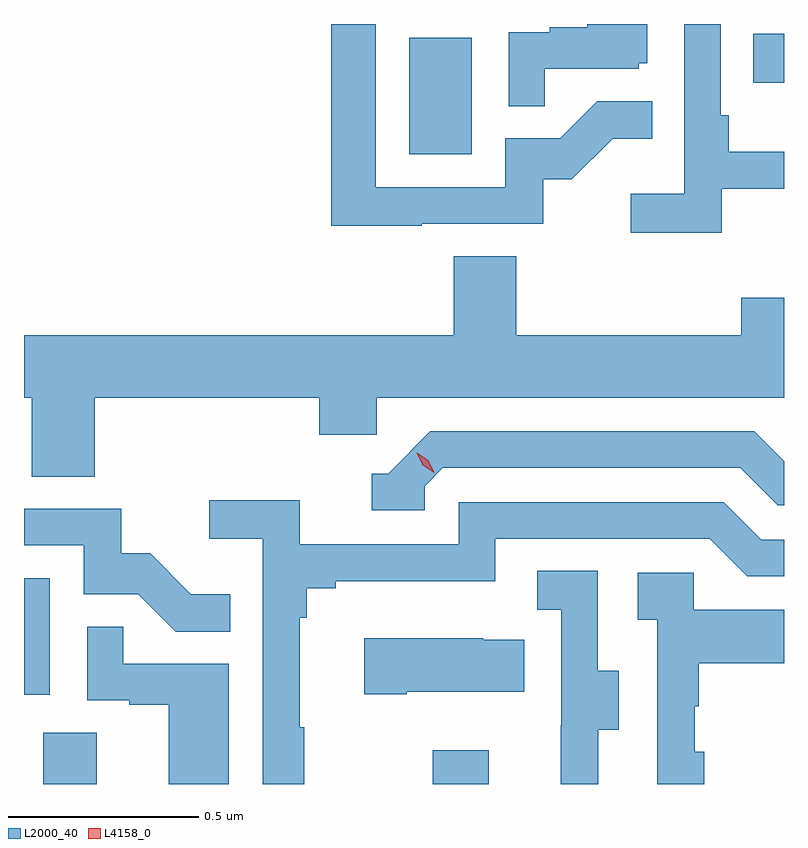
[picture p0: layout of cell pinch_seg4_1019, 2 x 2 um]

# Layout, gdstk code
import gdstk
lib = gdstk.Library(unit=1e-6, precision=1e-09)
def R(c, l, rs):  # rectangles x0, y0, x1, y1
    for r in rs: c.add(gdstk.rectangle(r[:2], r[2:], *l))
def P(c, l, *ps):  # polygons
    for p in ps: c.add(gdstk.Polygon(p, *l))
L2000_40 = (2000, 40)
L4158_0 = (4158, 0)

pinch_seg4_1019 = lib.new_cell('pinch_seg4_1019')
R(pinch_seg4_1019, L2000_40, [(853.445,779.819,853.585,779.954), (854.47,779.819,854.617,779.908), (853.394,780.054,853.462,780.361), (854.408,781.476,854.572,781.783), (855.313,781.664,855.394,781.794)])
P(pinch_seg4_1019, L2000_40, [(854.765,781.701),(855.012,781.701),(855.012,781.716),(855.034,781.716),(855.034,781.819),(854.876,781.819),(854.876,781.81),(854.777,781.81),(854.777,781.797),(854.67,781.797),(854.67,781.603),(854.765,781.603)],
  [(855.23,781.386),(855.394,781.386),(855.394,781.483),(855.248,781.483),(855.248,781.579),(855.228,781.579),(855.228,781.819),(855.132,781.819),(855.132,781.372),(854.991,781.372),(854.991,781.27),(855.23,781.27)],
  [(854.441,781.293),(854.76,781.293),(854.76,781.41),(854.836,781.41),(854.943,781.517),(855.047,781.517),(855.047,781.616),(854.903,781.616),(854.805,781.518),(854.661,781.518),(854.661,781.389),(854.319,781.389),(854.319,781.819),(854.203,781.819),(854.203,781.288),(854.441,781.288)],
  [(853.58,780.836),(854.171,780.836),(854.171,780.738),(854.322,780.738),(854.322,780.836),(855.394,780.836),(855.394,781.098),(855.281,781.098),(855.281,781),(854.69,781),(854.69,781.208),(854.525,781.208),(854.525,781),(853.394,781),(853.394,780.836),(853.415,780.836),(853.415,780.628),(853.58,780.628)],
  [(854.448,780.603),(854.496,780.651),(855.279,780.651),(855.378,780.552),(855.394,780.552),(855.394,780.669),(855.316,780.747),(854.463,780.747),(854.352,780.636),(854.309,780.636),(854.309,780.54),(854.448,780.54)],
  [(854.131,779.969),(854.119,779.969),(854.119,780.257),(854.138,780.257),(854.138,780.334),(854.215,780.334),(854.215,780.353),(854.634,780.353),(854.634,780.465),(855.198,780.465),(855.297,780.366),(855.394,780.366),(855.394,780.462),(855.334,780.462),(855.235,780.561),(854.538,780.561),(854.538,780.45),(854.12,780.45),(854.12,780.566),(853.881,780.566),(853.881,780.464),(854.022,780.464),(854.022,779.819),(854.131,779.819)],
  [(853.937,780.319),(853.833,780.319),(853.726,780.426),(853.65,780.426),(853.65,780.543),(853.394,780.543),(853.394,780.447),(853.551,780.447),(853.551,780.318),(853.695,780.318),(853.793,780.22),(853.937,780.22)],
  [(854.905,779.962),(854.959,779.962),(854.959,780.117),(854.904,780.117),(854.904,780.38),(854.745,780.38),(854.745,780.277),(854.808,780.277),(854.808,779.973),(854.807,779.973),(854.807,779.819),(854.905,779.819)],
  [(855.184,779.904),(855.159,779.904),(855.159,780.023),(855.169,780.023),(855.169,780.137),(855.394,780.137),(855.394,780.277),(855.156,780.277),(855.156,780.375),(855.009,780.375),(855.009,780.251),(855.06,780.251),(855.06,779.819),(855.184,779.819)],
  [(853.933,780.135),(853.655,780.135),(853.655,780.233),(853.56,780.233),(853.56,780.039),(853.671,780.039),(853.671,780.027),(853.775,780.027),(853.775,779.819),(853.933,779.819)],
  [(854.401,780.062),(854.711,780.062),(854.711,780.199),(854.603,780.199),(854.603,780.202),(854.289,780.202),(854.289,780.055),(854.401,780.055)])
P(pinch_seg4_1019, L4158_0, [(854.473,780.638),(854.443,780.658),(854.427,780.691),(854.427,780.691),(854.427,780.691),(854.458,780.671),(854.474,780.638),(854.474,780.638)])

lib.write_gds('pinch_seg4_1019.gds')
